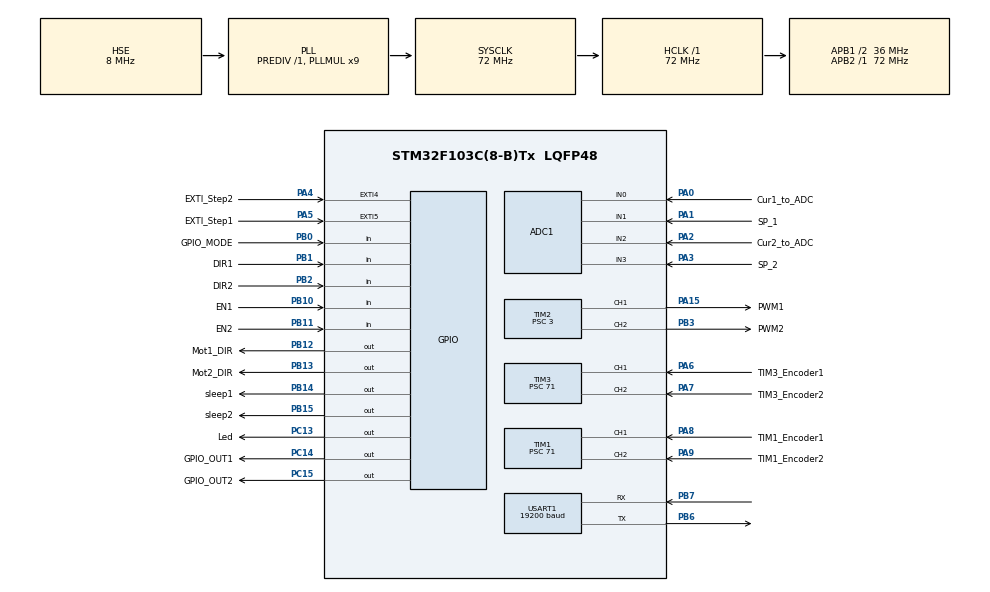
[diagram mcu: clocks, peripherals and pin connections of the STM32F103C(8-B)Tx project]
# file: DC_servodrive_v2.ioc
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ADC1.Channel-2\#ChannelRegularConversion=ADC_CHANNEL_0
ADC1.Channel-5\#ChannelRegularConversion=ADC_CHANNEL_1
ADC1.Channel-6\#ChannelRegularConversion=ADC_CHANNEL_2
ADC1.Channel-7\#ChannelRegularConversion=ADC_CHANNEL_3
ADC1.NbrOfConversion=4
ADC1.NbrOfConversionFlag=1
ADC1.Rank-2\#ChannelRegularConversion=1
ADC1.Rank-5\#ChannelRegularConversion=2
ADC1.Rank-6\#ChannelRegularConversion=3
ADC1.Rank-7\#ChannelRegularConversion=4
ADC1.SamplingTime-2\#ChannelRegularConversion=ADC_SAMPLETIME_239CYCLES_5
ADC1.SamplingTime-5\#ChannelRegularConversion=ADC_SAMPLETIME_239CYCLES_5
ADC1.SamplingTime-6\#ChannelRegularConversion=ADC_SAMPLETIME_239CYCLES_5
ADC1.SamplingTime-7\#ChannelRegularConversion=ADC_SAMPLETIME_239CYCLES_5
ADC1.master=1
Dma.ADC1.0.Direction=DMA_PERIPH_TO_MEMORY
Dma.ADC1.0.Instance=DMA1_Channel1
Dma.ADC1.0.MemDataAlignment=DMA_MDATAALIGN_HALFWORD
Dma.ADC1.0.MemInc=DMA_MINC_ENABLE
Dma.ADC1.0.Mode=DMA_CIRCULAR
Dma.ADC1.0.PeriphDataAlignment=DMA_PDATAALIGN_HALFWORD
Dma.ADC1.0.PeriphInc=DMA_PINC_DISABLE
Dma.ADC1.0.Priority=DMA_PRIORITY_LOW
Dma.Request0=ADC1
IWDG.Prescaler=IWDG_PRESCALER_32
Mcu.Family=STM32F1
Mcu.Name=STM32F103C(8-B)Tx
Mcu.Package=LQFP48
NVIC.DMA1_Channel1_IRQn=true\:0\:0\:false\:false\:true\:false\:true\:true
NVIC.EXTI4_IRQn=true\:0\:0\:false\:false\:true\:true\:true\:true
NVIC.EXTI9_5_IRQn=true\:0\:0\:false\:false\:true\:true\:true\:true
NVIC.PriorityGroup=NVIC_PRIORITYGROUP_4
NVIC.TIM4_IRQn=true\:0\:0\:false\:false\:true\:true\:true\:true
NVIC.USART1_IRQn=true\:0\:0\:false\:false\:true\:true\:true\:true
PA0-WKUP.GPIO_Label=Cur1_to_ADC
PA0-WKUP.Signal=ADCx_IN0
PA1.GPIO_Label=SP_1
PA1.Signal=ADCx_IN1
PA13.Mode=Serial_Wire
PA13.Signal=SYS_JTMS-SWDIO
PA14.Mode=Serial_Wire
PA14.Signal=SYS_JTCK-SWCLK
PA15.GPIO_Label=PWM1
PA15.GPIO_ModeDefaultPP=GPIO_MODE_AF_PP
PA15.GPIO_Speed=GPIO_SPEED_FREQ_LOW
PA15.Signal=S_TIM2_CH1_ETR
PA2.GPIO_Label=Cur2_to_ADC
PA2.Signal=ADCx_IN2
PA3.GPIO_Label=SP_2
PA3.Signal=ADCx_IN3
PA4.GPIO_Label=EXTI_Step2
PA4.Signal=GPXTI4
PA5.GPIO_Label=EXTI_Step1
PA5.GPIO_PuPd=GPIO_NOPULL
PA5.Signal=GPXTI5
PA6.GPIO_Label=TIM3_Encoder1
PA6.Signal=S_TIM3_CH1
PA7.GPIO_Label=TIM3_Encoder2
PA7.Signal=S_TIM3_CH2
PA8.GPIO_Label=TIM1_Encoder1
PA8.Signal=S_TIM1_CH1
PA9.GPIO_Label=TIM1_Encoder2
PA9.Signal=S_TIM1_CH2
PB0.GPIO_Label=GPIO_MODE
PB0.Signal=GPIO_Input
PB1.GPIO_Label=DIR1
PB1.Signal=GPIO_Input
PB10.GPIO_Label=EN1
PB10.Signal=GPIO_Input
PB11.GPIO_Label=EN2
PB11.Signal=GPIO_Input
PB12.GPIO_Label=Mot1_DIR
PB12.Signal=GPIO_Output
PB13.GPIO_Label=Mot2_DIR
PB13.Signal=GPIO_Output
PB14.GPIO_Label=sleep1
PB14.Signal=GPIO_Output
PB15.GPIO_Label=sleep2
PB15.Signal=GPIO_Output
PB2.GPIO_Label=DIR2
PB2.Signal=GPIO_Input
PB3.GPIO_Label=PWM2
PB3.GPIO_ModeDefaultPP=GPIO_MODE_AF_PP
PB3.GPIO_Speed=GPIO_SPEED_FREQ_LOW
PB3.Signal=S_TIM2_CH2
PB6.Mode=Asynchronous
PB6.Signal=USART1_TX
PB7.Mode=Asynchronous
PB7.Signal=USART1_RX
PC13-TAMPER-RTC.GPIO_Label=Led
PC13-TAMPER-RTC.GPIO_ModeDefaultOutputPP=GPIO_MODE_OUTPUT_OD
PC13-TAMPER-RTC.GPIO_PuPd=GPIO_NOPULL
PC13-TAMPER-RTC.PinState=GPIO_PIN_SET
PC13-TAMPER-RTC.Signal=GPIO_Output
PC14-OSC32_IN.GPIO_Label=GPIO_OUT1
PC14-OSC32_IN.Signal=GPIO_Output
PC15-OSC32_OUT.GPIO_Label=GPIO_OUT2
PC15-OSC32_OUT.Signal=GPIO_Output
PD0-OSC_IN.Mode=HSE-External-Oscillator
PD0-OSC_IN.Signal=RCC_OSC_IN
PD1-OSC_OUT.Mode=HSE-External-Oscillator
PD1-OSC_OUT.Signal=RCC_OSC_OUT
ProjectManager.HeapSize=0x200
ProjectManager.StackSize=0x400
ProjectManager.TargetToolchain=EWARM V8.32
RCC.ADCPresc=RCC_ADCPCLK2_DIV8
RCC.AHBFreq_Value=72000000
RCC.APB1CLKDivider=RCC_HCLK_DIV2
RCC.APB1Freq_Value=36000000
RCC.APB1TimFreq_Value=72000000
RCC.APB2Freq_Value=72000000
RCC.APB2TimFreq_Value=72000000
RCC.HCLKFreq_Value=72000000
RCC.PLLMUL=RCC_PLL_MUL9
RCC.PLLSourceVirtual=RCC_PLLSOURCE_HSE
RCC.SYSCLKFreq_VALUE=72000000
RCC.SYSCLKSource=RCC_SYSCLKSOURCE_PLLCLK
RCC.USBFreq_Value=72000000
SH.ADCx_IN0.0=ADC1_IN0,IN0
SH.ADCx_IN1.0=ADC1_IN1,IN1
SH.ADCx_IN2.0=ADC1_IN2,IN2
SH.ADCx_IN3.0=ADC1_IN3,IN3
SH.S_TIM1_CH1.0=TIM1_CH1,Encoder_Interface
SH.S_TIM1_CH2.0=TIM1_CH2,Encoder_Interface
SH.S_TIM2_CH1_ETR.0=TIM2_CH1,PWM Generation1 CH1
SH.S_TIM2_CH2.0=TIM2_CH2,PWM Generation2 CH2
SH.S_TIM3_CH1.0=TIM3_CH1,Encoder_Interface
SH.S_TIM3_CH2.0=TIM3_CH2,Encoder_Interface
TIM1.CounterMode=TIM_COUNTERMODE_UP
TIM1.IC1Filter=1
TIM1.IC2Filter=1
TIM1.Prescaler=71
TIM2.Channel-PWM\ Generation1\ CH1=TIM_CHANNEL_1
TIM2.Channel-PWM\ Generation2\ CH2=TIM_CHANNEL_2
TIM2.OC1Preload_PWM=DISABLE
TIM2.OC2Preload_PWM=DISABLE
TIM2.Period=1000
TIM2.Prescaler=3
TIM3.IC1Filter=1
TIM3.IC2Filter=1
TIM3.Prescaler=71
TIM4.AutoReloadPreload=TIM_AUTORELOAD_PRELOAD_ENABLE
TIM4.Period=1000
TIM4.Prescaler=719
TIM4.TIM_MasterOutputTrigger=TIM_TRGO_RESET
USART1.BaudRate=19200
USART1.Parity=PARITY_EVEN
USART1.VirtualMode=VM_ASYNC
VP_IWDG_VS_IWDG.Mode=IWDG_Activate
VP_TIM4_VS_ClockSourceINT.Mode=Internal
board=custom

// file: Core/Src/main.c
/* USER CODE BEGIN Header */
/**
  ******************************************************************************
  * @file           : main.c
  * @brief          : Main program body
  ******************************************************************************
  * @attention
  *
  * Copyright (c) 2024 STMicroelectronics.
  * All rights reserved.
  *
  * This software is licensed under terms that can be found in the LICENSE file
  * in the root directory of this software component.
  * If no LICENSE file comes with this software, it is provided AS-IS.
  *
  ******************************************************************************
  */
/* USER CODE END Header */
#include "main.h"
#include "adc.h"
#include "dma.h"
#include "iwdg.h"
#include "tim.h"
#include "usart.h"
#include "gpio.h"

/* USER CODE BEGIN Includes */
#include "PID_fast.h"
//#include <stdio.h>
/* USER CODE END Includes */

void SystemClock_Config(void);
/* USER CODE BEGIN PFP */
static void PWM_out_H_brige(Motor_Sruct *motor, uint8_t channel);
static void init_motor(Motor_Sruct *motor,uint8_t motor_num);
/* USER CODE END PFP */

/* USER CODE BEGIN 0 */
//--------my global variables----------//
volatile uint16_t dma[4];
//volatile uint8_t error_my=0, feed_motion=0, M1_motion=0, polyarity,first_intrrupt=1; // 0-off 1-rigt, 2-left, 3-Rocking, 4-brake active
//volatile uint16_t PWM_M1=0; //0-1000
//volatile uint16_t PWM_M4=0;//1000 RPS
//volatile uint32_t Freq_TIM2=10000;  //10000 is one rpm/sec or 600000 is one rpm/min
volatile uint8_t init_state=0, tic_count = 0;
Motor_Sruct M1,M2;
volatile uint16_t Step1_cnt_from_EXTI=0;
volatile uint16_t Step2_cnt_from_EXTI=0;

//========================================//
/* USER CODE END 0 */

int main(void)
{

  /* MCU Configuration--------------------------------------------------------*/

  /* Reset of all peripherals, Initializes the Flash interface and the Systick. */
  HAL_Init();

  /* Configure the system clock */
  SystemClock_Config();

  /* Initialize all configured peripherals */
  MX_GPIO_Init();
  MX_DMA_Init();
  MX_ADC1_Init();
  MX_IWDG_Init();
  MX_TIM1_Init();
  MX_TIM2_Init();
  MX_TIM3_Init();
  MX_TIM4_Init();
  MX_USART1_UART_Init();
  /* USER CODE BEGIN 2 */
  init_motor(&M1,1);
  init_motor(&M2,2);
//  if (HAL_GPIO_ReadPin(GPIO_MODE_GPIO_Port,GPIO_MODE_Pin)){
//    init_state=0;
//  }else{
//    init_state=1;
//  }
  init_state=3;
  HAL_GPIO_WritePin(sleep1_GPIO_Port,sleep1_Pin,GPIO_PIN_SET);  //todo we may use this for some purpouses
  HAL_GPIO_WritePin(sleep2_GPIO_Port,sleep2_Pin,GPIO_PIN_SET);

  //check this one if you will generate code again
  if(init_state){
    /* creation of Debug_mode */

  }else{
    /* creation of Step_DIR */
  }
  HAL_ADC_Stop(&hadc1);
  HAL_ADC_Stop_DMA(&hadc1);
  HAL_ADC_Start_DMA(&hadc1,(uint32_t*)&dma,4);
  HAL_TIM_Base_Start_IT(&htim4);
  HAL_TIM_Encoder_Start(&htim1,TIM_CHANNEL_ALL);
  HAL_TIM_Encoder_Start(&htim3,TIM_CHANNEL_ALL);
  HAL_Delay(1);  //ADC conversion
  uint16_t dma_I1_prev=dma[0],dma_V1_prev=dma[1];
  uint16_t dma_I2_prev=dma[0],dma_V2_prev=dma[1];
  uint8_t tic_prev=tic_count;
  TIM2->CCR1=0;
  TIM2->CCR2=0;
  HAL_TIM_PWM_Start(&htim2,TIM_CHANNEL_1);
  HAL_TIM_PWM_Start(&htim2,TIM_CHANNEL_2);
  int32_t temp;
  /* USER CODE END 2 */

  /* Infinite loop */
  /* USER CODE BEGIN WHILE */
  while (1)
  {

    if (tic_prev!=tic_count){ //100hz
      if (tic_count==1){
        HAL_GPIO_TogglePin(Led_GPIO_Port,Led_Pin);
      }
      HAL_IWDG_Refresh(&hiwdg);
      tic_prev=tic_count;
      M1.I_M=(dma_I1_prev+dma[0])>>1;
      dma_I1_prev=dma[0];
      M2.I_M=(dma_I2_prev+dma[2])>>1;
      dma_I2_prev=dma[2];

      switch (init_state){
      case 0:
        /* Debug_mode */
#ifndef debug_PID_pos_only
        if (tic_count==1){
#endif
#ifdef debug_PID_Current
          M1.curr_direction=1;
#endif
#ifdef debug_PID_Velocity
          M1.curr_direction=1;
#endif
          //PID_REG(&M1); // 0.1 sec
          //PID_REG_V_only(&M1);//0.1sec
          PID_REG_position_only(&M1);
          PID_REG(&M2); // 0.1 sec
          PWM_out_H_brige(&M1,1);
          PWM_out_H_brige(&M2,2);
          //printf("%d\r\n",M1.velocity_average);
#ifndef debug_PID_pos_only
        }
#endif
        break;
      case 1:
        /* Step_DIR control loop by position*/
        //------------------------------------M1--------------------------//
        if (HAL_GPIO_ReadPin(EN1_GPIO_Port,EN1_Pin)==GPIO_PIN_SET)
        {
          if (HAL_GPIO_ReadPin(DIR1_GPIO_Port,DIR1_Pin)==GPIO_PIN_SET)
          {
            if (Step1_cnt_from_EXTI>0&&Step1_cnt_from_EXTI<5000){
              M1.position_sp+=Step1_cnt_from_EXTI;
              Step1_cnt_from_EXTI=0;
            }
          }else{
            if (Step1_cnt_from_EXTI>0&&Step1_cnt_from_EXTI<5000){
              M1.position_sp-=Step1_cnt_from_EXTI;
              Step1_cnt_from_EXTI=0;
            }
          }
          PID_REG(&M1); // 0.01 sec
        } else {
          M1.position_sp=0;
          M1.PWM_out=0;
          Step1_cnt_from_EXTI=0;
        }
        PWM_out_H_brige(&M1,1);
        //----------------------------------------------------------------//

        //------------------------------------M2--------------------------//
        if (HAL_GPIO_ReadPin(EN2_GPIO_Port,EN2_Pin)==GPIO_PIN_SET)
        {
          if (HAL_GPIO_ReadPin(DIR2_GPIO_Port,DIR2_Pin)==GPIO_PIN_SET)
          {
            if (Step2_cnt_from_EXTI>0&&Step2_cnt_from_EXTI<5000){
              M2.position_sp+=Step2_cnt_from_EXTI;
              Step2_cnt_from_EXTI=0;
            }
          }else{
            if (Step2_cnt_from_EXTI>0&&Step2_cnt_from_EXTI<5000){
              M2.position_sp-=Step2_cnt_from_EXTI;
              Step2_cnt_from_EXTI=0;
            }
          }
          PID_REG(&M2); // 0.01 sec
        } else {
          M2.position_sp=0;
          M2.PWM_out=0;
          Step2_cnt_from_EXTI=0;
        }
        PWM_out_H_brige(&M2,2);
        //----------------------------------------------------------------//
        break;
      case 2:
        /* ManualTask control loop by velocity*/
        //------------------------------------M1--------------------------//
        if (HAL_GPIO_ReadPin(EN1_GPIO_Port,EN1_Pin)==GPIO_PIN_SET)
        {
          if (HAL_GPIO_ReadPin(DIR1_GPIO_Port,DIR1_Pin)==GPIO_PIN_SET)
          {
            temp=(M1.velocity_max*(dma_V1_prev+dma[1]))>>13;  //div 8096
            dma_V1_prev=dma[1];
            M1.velocity_sp=(temp>M1.velocity_max)?M1.velocity_max:(int16_t)temp;
          }else{
            temp=(-1)*((M1.velocity_max*(dma_V1_prev+dma[1]))>>13);  //div 8096
            dma_V1_prev=dma[1];
            M1.velocity_sp=(temp*(-1)>(M1.velocity_max))?(M1.velocity_max*(-1)):(int16_t)temp;
          }
          PID_REG(&M1); // 0.01 sec
        }else{
          M1.PWM_out=0;
        }
        PWM_out_H_brige(&M1,1);
        //----------------------------------------------------------------//
        //------------------------------------M2--------------------------//
        if (HAL_GPIO_ReadPin(EN2_GPIO_Port,EN2_Pin)==GPIO_PIN_SET)
        {
          if (HAL_GPIO_ReadPin(DIR2_GPIO_Port,DIR2_Pin)==GPIO_PIN_SET)
          {
            temp=(M2.velocity_max*(dma_V2_prev+dma[3]))>>13;  //div 8096
            dma_V2_prev=dma[3];
            M2.velocity_sp=(temp>M2.velocity_max)?M2.velocity_max:(int16_t)temp;
          }else{
            temp=(-1)*((M2.velocity_max*(dma_V2_prev+dma[3]))>>13);  //div 8096
            dma_V2_prev=dma[3];
            M2.velocity_sp=(temp*(-1)>(M2.velocity_max))?(M2.velocity_max*(-1)):(int16_t)temp;
          }
          PID_REG(&M2); // 0.01 sec
        }else{
          M1.PWM_out=0;
        }
        PWM_out_H_brige(&M2,2);
        //----------------------------------------------------------------//
        break;
      case 3:
        HAL_GPIO_WritePin(GPIO_OUT1_GPIO_Port,GPIO_OUT1_Pin,GPIO_PIN_RESET);
        HAL_GPIO_WritePin(Mot1_DIR_GPIO_Port,Mot1_DIR_Pin,GPIO_PIN_SET);  //changeing direction of motor (dir 0 or 1) and PWM 0 equal STOP (driver mode connected to GND)
        TIM2->ARR=1000+dma[1]/4;
        TIM2->CCR1=TIM2->ARR/2;
        TIM2->CCR2=TIM2->ARR/2;
        static uint8_t loop=0;
        if(loop>4){
            HAL_TIM_PWM_Start(&htim2,TIM_CHANNEL_1);
            HAL_TIM_PWM_Start(&htim2,TIM_CHANNEL_2);
            HAL_GPIO_WritePin(sleep1_GPIO_Port,sleep1_Pin,GPIO_PIN_SET);
        }
        if(loop>9){
            HAL_TIM_PWM_Stop(&htim2,TIM_CHANNEL_1);
            HAL_TIM_PWM_Stop(&htim2,TIM_CHANNEL_2);
            HAL_GPIO_WritePin(sleep1_GPIO_Port,sleep1_Pin,GPIO_PIN_RESET);
            loop=0;
        }
        loop++;
        break;
      default:
        break;
      }

      HAL_ADC_Stop_DMA(&hadc1);
      HAL_ADC_Start_DMA(&hadc1,(uint32_t*)&dma,4);  //todo check, changed to circular mode
    }
    /* USER CODE END WHILE */

  }
}

void SystemClock_Config(void)
{
  RCC_OscInitTypeDef RCC_OscInitStruct = {0};
  RCC_ClkInitTypeDef RCC_ClkInitStruct = {0};
  RCC_PeriphCLKInitTypeDef PeriphClkInit = {0};

  /** Initializes the RCC Oscillators according to the specified parameters
  * in the RCC_OscInitTypeDef structure.
  */
  RCC_OscInitStruct.OscillatorType = RCC_OSCILLATORTYPE_LSI|RCC_OSCILLATORTYPE_HSE;
  RCC_OscInitStruct.HSEState = RCC_HSE_ON;
  RCC_OscInitStruct.HSEPredivValue = RCC_HSE_PREDIV_DIV1;
  RCC_OscInitStruct.HSIState = RCC_HSI_ON;
  RCC_OscInitStruct.LSIState = RCC_LSI_ON;
  RCC_OscInitStruct.PLL.PLLState = RCC_PLL_ON;
  RCC_OscInitStruct.PLL.PLLSource = RCC_PLLSOURCE_HSE;
  RCC_OscInitStruct.PLL.PLLMUL = RCC_PLL_MUL9;
  if (HAL_RCC_OscConfig(&RCC_OscInitStruct) != HAL_OK)
  {
    Error_Handler();
  }

  /** Initializes the CPU, AHB and APB buses clocks
  */
  RCC_ClkInitStruct.ClockType = RCC_CLOCKTYPE_HCLK|RCC_CLOCKTYPE_SYSCLK
                              |RCC_CLOCKTYPE_PCLK1|RCC_CLOCKTYPE_PCLK2;
  RCC_ClkInitStruct.SYSCLKSource = RCC_SYSCLKSOURCE_PLLCLK;
  RCC_ClkInitStruct.AHBCLKDivider = RCC_SYSCLK_DIV1;
  RCC_ClkInitStruct.APB1CLKDivider = RCC_HCLK_DIV2;
  RCC_ClkInitStruct.APB2CLKDivider = RCC_HCLK_DIV1;

  if (HAL_RCC_ClockConfig(&RCC_ClkInitStruct, FLASH_LATENCY_2) != HAL_OK)
  {
    Error_Handler();
  }
  PeriphClkInit.PeriphClockSelection = RCC_PERIPHCLK_ADC;
  PeriphClkInit.AdcClockSelection = RCC_ADCPCLK2_DIV8;
  if (HAL_RCCEx_PeriphCLKConfig(&PeriphClkInit) != HAL_OK)
  {
    Error_Handler();
  }
}

/* USER CODE BEGIN 4 */
static void PWM_out_H_brige(Motor_Sruct *motor, uint8_t channel)
{
  if(channel==1){
    if(motor->PWM_out>=5)
    {
      HAL_GPIO_WritePin(GPIO_OUT1_GPIO_Port,GPIO_OUT1_Pin,GPIO_PIN_RESET);
      HAL_GPIO_WritePin(Mot1_DIR_GPIO_Port,Mot1_DIR_Pin,GPIO_PIN_SET);  //changeing direction of motor (dir 0 or 1) and PWM 0 equal STOP (driver mode connected to GND)
      TIM2->CCR1=motor->PWM_out;
    }else if (motor->PWM_out<=-5){
      HAL_GPIO_WritePin(GPIO_OUT1_GPIO_Port,GPIO_OUT1_Pin,GPIO_PIN_RESET);
      HAL_GPIO_WritePin(Mot1_DIR_GPIO_Port,Mot1_DIR_Pin,GPIO_PIN_RESET);//changeing direction of motor (dir 0 or 1) and PWM 0 equal STOP
      TIM2->CCR1=motor->PWM_out*(-1);//0
    }else{      //reach control point
      TIM2->CCR1=0;
      HAL_GPIO_WritePin(GPIO_OUT1_GPIO_Port,GPIO_OUT1_Pin,GPIO_PIN_SET);
    }
  }else {
    if(motor->PWM_out>=5)
    {
      HAL_GPIO_WritePin(Mot2_DIR_GPIO_Port,Mot2_DIR_Pin,GPIO_PIN_SET);//changeing direction of motor (dir 0 or 1) and PWM 0 equal STOP
      TIM2->CCR2=motor->PWM_out;
      HAL_GPIO_WritePin(GPIO_OUT2_GPIO_Port,GPIO_OUT2_Pin,GPIO_PIN_RESET);
    }else if (motor->PWM_out<=-5){
      HAL_GPIO_WritePin(Mot2_DIR_GPIO_Port,Mot2_DIR_Pin,GPIO_PIN_RESET);//changeing direction of motor (dir 0 or 1) and PWM 0 equal STOP
      TIM2->CCR2=motor->PWM_out*(-1);//0
      HAL_GPIO_WritePin(GPIO_OUT2_GPIO_Port,GPIO_OUT2_Pin,GPIO_PIN_RESET);
    }else{      //reach control point
      HAL_GPIO_WritePin(GPIO_OUT2_GPIO_Port,GPIO_OUT2_Pin,GPIO_PIN_SET);
      TIM2->CCR2=0;
    }
  }
}

//Function for setting default values to motors, in future probably here will be settings from flash, in this case use motor_num for defenition of which motor is it.
static void init_motor(Motor_Sruct *motor,uint8_t motor_num){
  motor->curr_direction=0;
  motor->position=0;
  motor->position_sp=0;
  motor->velocity=0;
  motor->velocity_max=Encoder1_Pulses_per_rotation*Max_RPM1/600;//todo check according to motor, also use 2 different according to motor num
  motor->velocity_sp=0;
  motor->I_M_max=4096;  //todo check according to driver
  motor->I_M=0;
  motor->I_M_sp=0;
  motor->PWM_out=0;
  motor->last_counter_value=0;
  motor->D_position=(motor_num==1)?M1_PID_POS_D:M2_PID_POS_D;
  motor->I_position=(motor_num==1)?M1_PID_POS_I:M2_PID_POS_I;
  motor->P_position=(motor_num==1)?M1_PID_POS_P:M2_PID_POS_P;
  motor->D_velocity=(motor_num==1)?M1_PID_Vel_D:M2_PID_Vel_D;
  motor->I_velocity=(motor_num==1)?M1_PID_Vel_I:M2_PID_Vel_I;
  motor->P_velocity=(motor_num==1)?M1_PID_Vel_P:M2_PID_Vel_P;
  motor->D_current =(motor_num==1)?M1_PID_Cur_D:M2_PID_Cur_D;
  motor->I_current =(motor_num==1)?M1_PID_Cur_I:M2_PID_Cur_I;
  motor->P_current =(motor_num==1)?M1_PID_Cur_P:M2_PID_Cur_P;
}
/* USER CODE END 4 */

void Error_Handler(void)
{
  __disable_irq();
  while (1)
  {
  }
}
